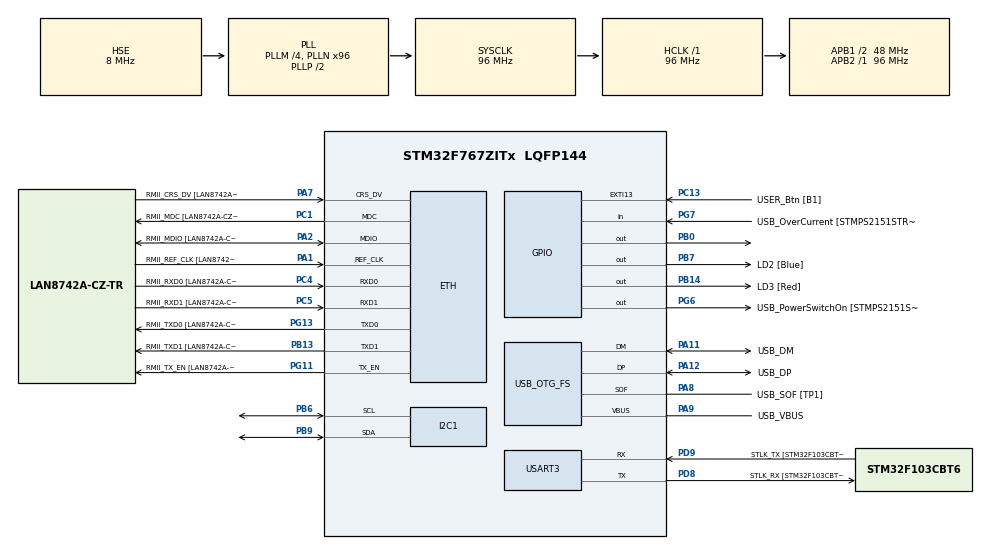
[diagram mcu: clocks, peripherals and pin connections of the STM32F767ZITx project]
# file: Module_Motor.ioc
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ETH.MediaInterface=ETH_MEDIA_INTERFACE_RMII
ETH.PHY_Name=LAN8742A_PHY_ADDRESS
ETH.PHY_Value=0
ETH.PhyAddress=0
I2C1.Timing=0x20303E5D
Mcu.Family=STM32F7
Mcu.Name=STM32F767ZITx
Mcu.Package=LQFP144
NVIC.PriorityGroup=NVIC_PRIORITYGROUP_4
PA1.GPIO_Label=RMII_REF_CLK [LAN8742A-CZ-TR_REFCLK0]
PA1.Mode=RMII
PA1.Signal=ETH_REF_CLK
PA10.GPIO_Label=USB_ID
PA10.Signal=USB_OTG_FS_ID
PA11.GPIO_Label=USB_DM
PA11.Mode=Device_Only
PA11.Signal=USB_OTG_FS_DM
PA12.GPIO_Label=USB_DP
PA12.Mode=Device_Only
PA12.Signal=USB_OTG_FS_DP
PA13.GPIO_Label=TMS
PA13.Mode=Serial_Wire
PA13.Signal=SYS_JTMS-SWDIO
PA14.GPIO_Label=TCK
PA14.Mode=Serial_Wire
PA14.Signal=SYS_JTCK-SWCLK
PA2.GPIO_Label=RMII_MDIO [LAN8742A-CZ-TR_MDIO]
PA2.Mode=RMII
PA2.Signal=ETH_MDIO
PA7.GPIO_Label=RMII_CRS_DV [LAN8742A-CZ-TR_CRS_DV]
PA7.Mode=RMII
PA7.Signal=ETH_CRS_DV
PA8.GPIO_Label=USB_SOF [TP1]
PA8.Mode=Activate_SOF_FS
PA8.Signal=USB_OTG_FS_SOF
PA9.GPIO_Label=USB_VBUS
PA9.Mode=Activate_VBUS
PA9.Signal=USB_OTG_FS_VBUS
PB0.Signal=GPIO_Output
PB13.GPIO_Label=RMII_TXD1 [LAN8742A-CZ-TR_TXD1]
PB13.Mode=RMII
PB13.Signal=ETH_TXD1
PB14.GPIO_Label=LD3 [Red]
PB14.Signal=GPIO_Output
PB3.GPIO_Label=SWO
PB3.Signal=SYS_JTDO-SWO
PB6.Mode=I2C
PB6.Signal=I2C1_SCL
PB7.GPIO_Label=LD2 [Blue]
PB7.Signal=GPIO_Output
PB9.Mode=I2C
PB9.Signal=I2C1_SDA
PC1.GPIO_Label=RMII_MDC [LAN8742A-CZ-TR_MDC]
PC1.Mode=RMII
PC1.Signal=ETH_MDC
PC13.GPIO_Label=USER_Btn [B1]
PC13.Signal=GPXTI13
PC14/OSC32_IN.Mode=LSE-External-Oscillator
PC14/OSC32_IN.Signal=RCC_OSC32_IN
PC15/OSC32_OUT.Mode=LSE-External-Oscillator
PC15/OSC32_OUT.Signal=RCC_OSC32_OUT
PC4.GPIO_Label=RMII_RXD0 [LAN8742A-CZ-TR_RXD0]
PC4.Mode=RMII
PC4.Signal=ETH_RXD0
PC5.GPIO_Label=RMII_RXD1 [LAN8742A-CZ-TR_RXD1]
PC5.Mode=RMII
PC5.Signal=ETH_RXD1
PD8.GPIO_Label=STLK_RX [STM32F103CBT6_PA3]
PD8.Mode=Asynchronous
PD8.Signal=USART3_TX
PD9.GPIO_Label=STLK_TX [STM32F103CBT6_PA2]
PD9.Mode=Asynchronous
PD9.Signal=USART3_RX
PG11.GPIO_Label=RMII_TX_EN [LAN8742A-CZ-TR_TXEN]
PG11.Mode=RMII
PG11.Signal=ETH_TX_EN
PG13.GPIO_Label=RMII_TXD0 [LAN8742A-CZ-TR_TXD0]
PG13.Mode=RMII
PG13.Signal=ETH_TXD0
PG6.GPIO_Label=USB_PowerSwitchOn [STMPS2151STR_EN]
PG6.Signal=GPIO_Output
PG7.GPIO_Label=USB_OverCurrent [STMPS2151STR_FAULT]
PG7.Signal=GPIO_Input
PH0/OSC_IN.GPIO_Label=MCO [STM32F103CBT6_PA8]
PH0/OSC_IN.Mode=HSE-External-Clock-Source
PH0/OSC_IN.Signal=RCC_OSC_IN
PH1/OSC_OUT.Mode=HSE-External-Clock-Source
PH1/OSC_OUT.Signal=RCC_OSC_OUT
ProjectManager.HeapSize=0x200
ProjectManager.StackSize=0x400
ProjectManager.TargetToolchain=STM32CubeIDE
RCC.48MHZClocksFreq_Value=24000000
RCC.AHBFreq_Value=96000000
RCC.APB1CLKDivider=RCC_HCLK_DIV2
RCC.APB1Freq_Value=48000000
RCC.APB1TimFreq_Value=96000000
RCC.APB2Freq_Value=96000000
RCC.APB2TimFreq_Value=96000000
RCC.CortexFreq_Value=96000000
RCC.HCLKFreq_Value=96000000
RCC.HSE_VALUE=8000000
RCC.HSI_VALUE=16000000
RCC.PLLM=4
RCC.PLLMUL=RCC_PLL_MUL9
RCC.PLLN=96
RCC.PLLQ=4
RCC.PRESCALERUSB=RCC_USBCLKSOURCE_PLL_DIV1_5
RCC.SYSCLKFreq_VALUE=96000000
RCC.SYSCLKSource=RCC_SYSCLKSOURCE_PLLCLK
RCC.SYSCLKSourceVirtual=RCC_SYSCLKSOURCE_PLLCLK
RCC.USBFreq_Value=48000000
RCC.VCOOutputFreq_Value=192000000
USART3.VirtualMode-Asynchronous=VM_ASYNC
USB_OTG_FS.VirtualMode=Device_Only
board=NUCLEO-F767ZI

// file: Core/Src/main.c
/* USER CODE BEGIN Header */
/**
  ******************************************************************************
  * @file           : main.c
  * @brief          : Main program body
  ******************************************************************************
  * @attention
  *
  * Copyright (c) 2022 STMicroelectronics.
  * All rights reserved.
  *
  * This software is licensed under terms that can be found in the LICENSE file
  * in the root directory of this software component.
  * If no LICENSE file comes with this software, it is provided AS-IS.
  *
  ******************************************************************************
  */
/* USER CODE END Header */
#include "main.h"

/* USER CODE BEGIN Includes */
#include "motor.h"
/* USER CODE END Includes */

/* USER CODE BEGIN PD */
#define FORWARD 1
#define BACKWARD 2
#define STOP 0
/* USER CODE END PD */

ETH_HandleTypeDef heth;

I2C_HandleTypeDef hi2c1;

UART_HandleTypeDef huart3;

PCD_HandleTypeDef hpcd_USB_OTG_FS;

void SystemClock_Config(void);
static void MX_GPIO_Init(void);
static void MX_ETH_Init(void);
static void MX_USART3_UART_Init(void);
static void MX_USB_OTG_FS_PCD_Init(void);
static void MX_I2C1_Init(void);

int main(void)
{

  /* MCU Configuration--------------------------------------------------------*/

  /* Reset of all peripherals, Initializes the Flash interface and the Systick. */
  HAL_Init();

  /* Configure the system clock */
  SystemClock_Config();

  /* Initialize all configured peripherals */
  MX_GPIO_Init();
//  MX_ETH_Init();
  MX_USART3_UART_Init();
  MX_USB_OTG_FS_PCD_Init();
  MX_I2C1_Init();

  /* Infinite loop */
  /* USER CODE BEGIN WHILE */

	uint8_t strengh = 0x3F;
	uint8_t dir;

	dir = STOP;
	motor_rotate(hi2c1, strengh, dir);
	HAL_Delay(2000);

  while (1)
  {
	dir = FORWARD;
	motor_rotate(hi2c1, strengh, dir);
	HAL_Delay(5000);
	dir = BACKWARD;
	motor_rotate(hi2c1, strengh, dir);
	HAL_Delay(5000);

    /* USER CODE END WHILE */

  }
}

void SystemClock_Config(void)
{
  RCC_OscInitTypeDef RCC_OscInitStruct = {0};
  RCC_ClkInitTypeDef RCC_ClkInitStruct = {0};

  /** Configure LSE Drive Capability
  */
  HAL_PWR_EnableBkUpAccess();
  /** Configure the main internal regulator output voltage
  */
  __HAL_RCC_PWR_CLK_ENABLE();
  __HAL_PWR_VOLTAGESCALING_CONFIG(PWR_REGULATOR_VOLTAGE_SCALE3);
  /** Initializes the RCC Oscillators according to the specified parameters
  * in the RCC_OscInitTypeDef structure.
  */
  RCC_OscInitStruct.OscillatorType = RCC_OSCILLATORTYPE_HSE;
  RCC_OscInitStruct.HSEState = RCC_HSE_BYPASS;
  RCC_OscInitStruct.PLL.PLLState = RCC_PLL_ON;
  RCC_OscInitStruct.PLL.PLLSource = RCC_PLLSOURCE_HSE;
  RCC_OscInitStruct.PLL.PLLM = 4;
  RCC_OscInitStruct.PLL.PLLN = 96;
  RCC_OscInitStruct.PLL.PLLP = RCC_PLLP_DIV2;
  RCC_OscInitStruct.PLL.PLLQ = 4;
  RCC_OscInitStruct.PLL.PLLR = 2;
  if (HAL_RCC_OscConfig(&RCC_OscInitStruct) != HAL_OK)
  {
    Error_Handler();
  }
  /** Activate the Over-Drive mode
  */
  if (HAL_PWREx_EnableOverDrive() != HAL_OK)
  {
    Error_Handler();
  }
  /** Initializes the CPU, AHB and APB buses clocks
  */
  RCC_ClkInitStruct.ClockType = RCC_CLOCKTYPE_HCLK|RCC_CLOCKTYPE_SYSCLK
                              |RCC_CLOCKTYPE_PCLK1|RCC_CLOCKTYPE_PCLK2;
  RCC_ClkInitStruct.SYSCLKSource = RCC_SYSCLKSOURCE_PLLCLK;
  RCC_ClkInitStruct.AHBCLKDivider = RCC_SYSCLK_DIV1;
  RCC_ClkInitStruct.APB1CLKDivider = RCC_HCLK_DIV2;
  RCC_ClkInitStruct.APB2CLKDivider = RCC_HCLK_DIV1;

  if (HAL_RCC_ClockConfig(&RCC_ClkInitStruct, FLASH_LATENCY_3) != HAL_OK)
  {
    Error_Handler();
  }
}

static void MX_ETH_Init(void)
{

   static uint8_t MACAddr[6];

  heth.Instance = ETH;
  heth.Init.AutoNegotiation = ETH_AUTONEGOTIATION_ENABLE;
  heth.Init.Speed = ETH_SPEED_100M;
  heth.Init.DuplexMode = ETH_MODE_FULLDUPLEX;
  heth.Init.PhyAddress = LAN8742A_PHY_ADDRESS;
  MACAddr[0] = 0x00;
  MACAddr[1] = 0x80;
  MACAddr[2] = 0xE1;
  MACAddr[3] = 0x00;
  MACAddr[4] = 0x00;
  MACAddr[5] = 0x00;
  heth.Init.MACAddr = &MACAddr[0];
  heth.Init.RxMode = ETH_RXPOLLING_MODE;
  heth.Init.ChecksumMode = ETH_CHECKSUM_BY_HARDWARE;
  heth.Init.MediaInterface = ETH_MEDIA_INTERFACE_RMII;

  if (HAL_ETH_Init(&heth) != HAL_OK)
  {
    Error_Handler();
  }

}

static void MX_I2C1_Init(void)
{

  hi2c1.Instance = I2C1;
  hi2c1.Init.Timing = 0x20303E5D;
  hi2c1.Init.OwnAddress1 = 0;
  hi2c1.Init.AddressingMode = I2C_ADDRESSINGMODE_7BIT;
  hi2c1.Init.DualAddressMode = I2C_DUALADDRESS_DISABLE;
  hi2c1.Init.OwnAddress2 = 0;
  hi2c1.Init.OwnAddress2Masks = I2C_OA2_NOMASK;
  hi2c1.Init.GeneralCallMode = I2C_GENERALCALL_DISABLE;
  hi2c1.Init.NoStretchMode = I2C_NOSTRETCH_DISABLE;
  if (HAL_I2C_Init(&hi2c1) != HAL_OK)
  {
    Error_Handler();
  }
  /** Configure Analogue filter
  */
  if (HAL_I2CEx_ConfigAnalogFilter(&hi2c1, I2C_ANALOGFILTER_ENABLE) != HAL_OK)
  {
    Error_Handler();
  }
  /** Configure Digital filter
  */
  if (HAL_I2CEx_ConfigDigitalFilter(&hi2c1, 0) != HAL_OK)
  {
    Error_Handler();
  }

}

static void MX_USART3_UART_Init(void)
{

  huart3.Instance = USART3;
  huart3.Init.BaudRate = 115200;
  huart3.Init.WordLength = UART_WORDLENGTH_8B;
  huart3.Init.StopBits = UART_STOPBITS_1;
  huart3.Init.Parity = UART_PARITY_NONE;
  huart3.Init.Mode = UART_MODE_TX_RX;
  huart3.Init.HwFlowCtl = UART_HWCONTROL_NONE;
  huart3.Init.OverSampling = UART_OVERSAMPLING_16;
  huart3.Init.OneBitSampling = UART_ONE_BIT_SAMPLE_DISABLE;
  huart3.AdvancedInit.AdvFeatureInit = UART_ADVFEATURE_NO_INIT;
  if (HAL_UART_Init(&huart3) != HAL_OK)
  {
    Error_Handler();
  }

}

static void MX_USB_OTG_FS_PCD_Init(void)
{

  hpcd_USB_OTG_FS.Instance = USB_OTG_FS;
  hpcd_USB_OTG_FS.Init.dev_endpoints = 6;
  hpcd_USB_OTG_FS.Init.speed = PCD_SPEED_FULL;
  hpcd_USB_OTG_FS.Init.dma_enable = DISABLE;
  hpcd_USB_OTG_FS.Init.phy_itface = PCD_PHY_EMBEDDED;
  hpcd_USB_OTG_FS.Init.Sof_enable = ENABLE;
  hpcd_USB_OTG_FS.Init.low_power_enable = DISABLE;
  hpcd_USB_OTG_FS.Init.lpm_enable = DISABLE;
  hpcd_USB_OTG_FS.Init.vbus_sensing_enable = ENABLE;
  hpcd_USB_OTG_FS.Init.use_dedicated_ep1 = DISABLE;
  if (HAL_PCD_Init(&hpcd_USB_OTG_FS) != HAL_OK)
  {
    Error_Handler();
  }

}

static void MX_GPIO_Init(void)
{
  GPIO_InitTypeDef GPIO_InitStruct = {0};

  /* GPIO Ports Clock Enable */
  __HAL_RCC_GPIOC_CLK_ENABLE();
  __HAL_RCC_GPIOH_CLK_ENABLE();
  __HAL_RCC_GPIOA_CLK_ENABLE();
  __HAL_RCC_GPIOB_CLK_ENABLE();
  __HAL_RCC_GPIOD_CLK_ENABLE();
  __HAL_RCC_GPIOG_CLK_ENABLE();

  /*Configure GPIO pin Output Level */
  HAL_GPIO_WritePin(GPIOB, GPIO_PIN_0|LD3_Pin|LD2_Pin, GPIO_PIN_RESET);

  /*Configure GPIO pin Output Level */
  HAL_GPIO_WritePin(USB_PowerSwitchOn_GPIO_Port, USB_PowerSwitchOn_Pin, GPIO_PIN_RESET);

  /*Configure GPIO pin : USER_Btn_Pin */
  GPIO_InitStruct.Pin = USER_Btn_Pin;
  GPIO_InitStruct.Mode = GPIO_MODE_IT_RISING;
  GPIO_InitStruct.Pull = GPIO_NOPULL;
  HAL_GPIO_Init(USER_Btn_GPIO_Port, &GPIO_InitStruct);

  /*Configure GPIO pins : PB0 LD3_Pin LD2_Pin */
  GPIO_InitStruct.Pin = GPIO_PIN_0|LD3_Pin|LD2_Pin;
  GPIO_InitStruct.Mode = GPIO_MODE_OUTPUT_PP;
  GPIO_InitStruct.Pull = GPIO_NOPULL;
  GPIO_InitStruct.Speed = GPIO_SPEED_FREQ_LOW;
  HAL_GPIO_Init(GPIOB, &GPIO_InitStruct);

  /*Configure GPIO pin : USB_PowerSwitchOn_Pin */
  GPIO_InitStruct.Pin = USB_PowerSwitchOn_Pin;
  GPIO_InitStruct.Mode = GPIO_MODE_OUTPUT_PP;
  GPIO_InitStruct.Pull = GPIO_NOPULL;
  GPIO_InitStruct.Speed = GPIO_SPEED_FREQ_LOW;
  HAL_GPIO_Init(USB_PowerSwitchOn_GPIO_Port, &GPIO_InitStruct);

  /*Configure GPIO pin : USB_OverCurrent_Pin */
  GPIO_InitStruct.Pin = USB_OverCurrent_Pin;
  GPIO_InitStruct.Mode = GPIO_MODE_INPUT;
  GPIO_InitStruct.Pull = GPIO_NOPULL;
  HAL_GPIO_Init(USB_OverCurrent_GPIO_Port, &GPIO_InitStruct);

}

void Error_Handler(void)
{
  __disable_irq();
  while (1)
  {
  }
}
